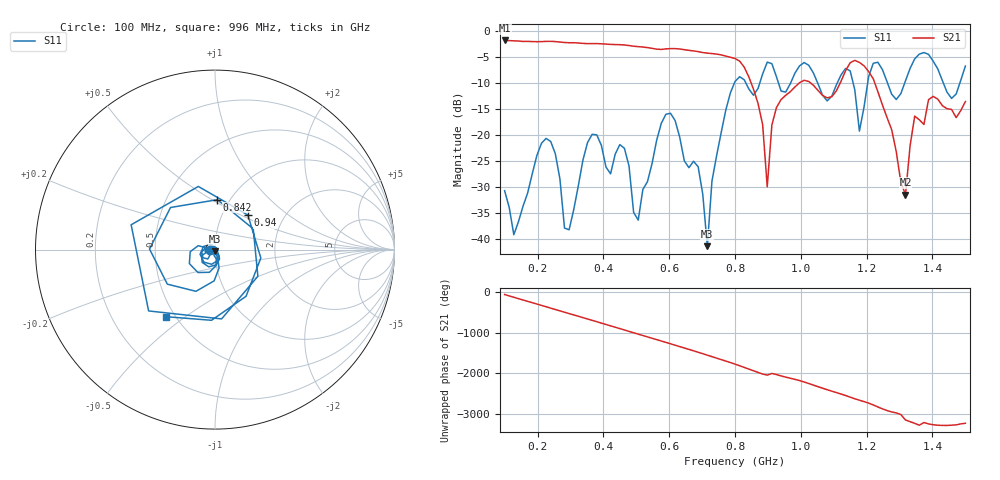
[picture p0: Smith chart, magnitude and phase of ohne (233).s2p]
! NanoVNA-App
! Date: 2025-09-25 14:22:36
! Start: 100MHz Stop: 1,5GHz Points: 101
! S-Parameter data: F S11 S21 S12 S22
# Hz S RI R 50
!  Frequency  S11_Real  S11_Imag  S21_Real  S21_Imag  S12_Real  S12_Imag  S22_Real  S22_Imag
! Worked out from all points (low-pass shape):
!   101 points, 100 MHz to 1.5 GHz, reference 50 ohm
!   highest |S21| = -1.79 dB at 100 MHz (marker M1); lowest = -31.4 dB at 1.318 GHz (marker M2)
!   |S21| within 3 dB of the highest: start of sweep to 771.9 MHz
!   lowest |S11| = -41.3 dB at 716 MHz (marker M3), VSWR 1.02, Z = 49.8 - j0.835 ohm
!   |S11| at or under -10 dB: start of sweep to 798 MHz; 833.2 MHz to 875.1 MHz (41.85 MHz wide, 4.9 % of centre); 1.051 GHz to 1.11 GHz (58.99 MHz wide, 5.46 % of centre) (the widest 3 of 7)
!   S12 and S22 are empty: the file has one direction only
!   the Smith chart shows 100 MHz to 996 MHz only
!   S11 on the Smith chart (normalised r, x): 100 MHz: 0.94, -0.01; 842 MHz: 0.88, +0.53; 940 MHz: 1.32, +0.55; 996 MHz: 0.45, -0.42
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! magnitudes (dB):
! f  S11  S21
! 100 MHz  -30.6  -1.8
! 128 MHz  -39.1  -1.9
! 226 MHz  -20.6  -2.0
! 296 MHz  -38.1  -2.2
! 338 MHz  -24.8  -2.4
! 464 MHz  -22.5  -2.7
! 506 MHz  -36.3  -3.0
! 576 MHz  -17.7  -3.5
! 688 MHz  -26.0  -3.9
! 716 MHz  -41.3  -4.2
! 800 MHz  -9.7  -5.3
! 842 MHz  -11.1  -8.8
! 898 MHz  -6.0  -29.9
! 940 MHz  -11.5  -13.1
! 996 MHz  -6.7  -9.9
! 1.038 GHz  -8.0  -10.4
! 1.178 GHz  -19.2  -6.0
! 1.22 GHz  -6.2  -9.2
! 1.276 GHz  -12.1  -18.9
! 1.318 GHz  -9.5  -31.4
! 1.346 GHz  -5.3  -16.3
! 1.5 GHz  -6.7  -13.5
